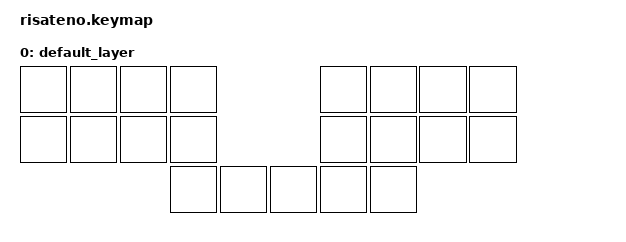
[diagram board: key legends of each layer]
/*
 * Copyright (c) 2020 The ZMK Contributors
 *
 * SPDX-License-Identifier: MIT
 */

#include <behaviors.dtsi>
#include <dt-bindings/zmk/bt.h>
#include <dt-bindings/zmk/keys.h>
#include <dt-bindings/zmk/outputs.h>
#include <dt-bindings/zmk/ext_power.h>

// CONFIG
#define COMBO_TIMEOUT 70
#define COMBO_LAYERS 0
#define STICKY_TIMEOUT 500

// LEFT SIDE
#define TLP 0 // TOP
#define TLR 1 // TOP
#define TLM 2 // TOP
#define TLI 3 // TOP
#define BLP 4 // BOTTOM
#define BLR 5 // BOTTOM
#define BLM 6 // BOTTOM
#define BLI 7 // BOTTOM
#define LOT 8 // O-THUMB
#define LIT 9 // I-THUMB

&sk {
    release-after-ms = <STICKY_TIMEOUT>;
    quick-release;
};

/ {
  combos {
    compatible = "zmk,combos";
    #include "chords.dtsi"
  };

  keymap {
    compatible = "zmk,keymap";

    default_layer {
      bindings = <
        &none &none &none &none               &none &none &none &none     
        &none &none &none &none               &none &none &none &none     
                          &none &none   &none &none &none   
      >;
    };
  };
};

